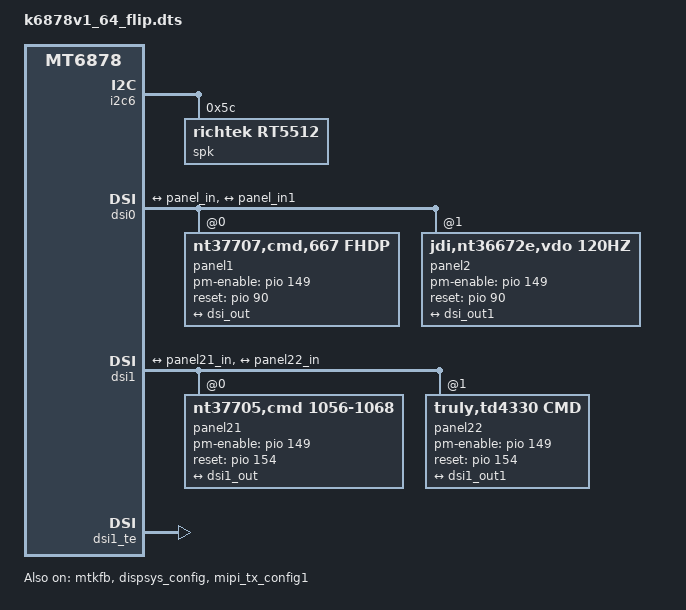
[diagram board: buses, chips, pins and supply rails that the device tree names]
// SPDX-License-Identifier: (GPL-2.0 OR MIT)
/*
 * Copyright (C) 2022 MediaTek Inc.
 */
/dts-v1/;
/plugin/;
#include <dt-bindings/interrupt-controller/arm-gic.h>
#include <dt-bindings/interrupt-controller/irq.h>
#include <dt-bindings/phy/phy.h>
#include <dt-bindings/pinctrl/mt6878-pinfunc.h>

#if 0
#include <dt-bindings/pinctrl/mt6897-pinfunc.h>
#endif

&chosen {
bootargs_ext = "";
};

&mtk_leds {
	compatible = "mediatek,disp-conn-leds";

	backlight {
		led-mode = <4>;
		max-brightness = <16380>;
		min-brightness = <4>;
		max-hw-brightness = <16380>;
	};
};

&mtk_leds1 {
	compatible = "mediatek,disp-conn-leds";

	backlight {
		led-mode = <4>;
		max-brightness = <16380>;
		min-brightness = <4>;
		max-hw-brightness = <16380>;
	};
};

&pdc {
	pd-vbus-upper-bound = <9000000>;
};

#if 0

&connfem {
/* Enable epa_elna node to support Wifi & BT ePA/eLNA FEM on customer load */
#if 0
	epa-elna {
		parts = <&wlan7207h &wlan7207c>;
		wifi {
			flags-0 {
				open-loop;
			};
		};
		bt {
			flags-0 {
				/* choose one of: epa-elna/epa/elna/bypass */
				epa-elna;
			};
		};
	};
#endif
};

/* GPS GPIO standardization start */
&pio {
	gps_pins_default: gps-default {
	};
	gps_l1_lna_pins_ol: gps-l1-lna0 {
		pins-cmd-dat {
			pinmux = <PINMUX_GPIO143__FUNC_GPIO143>;
			output-low;
		};
	};
	gps_l1_lna_pins_dsp_ctrl: gps-l1-lna1 {
		pins-cmd-dat {
			pinmux = <PINMUX_GPIO143__FUNC_GPS_L1_ELNA_EN>;
		};
	};
	gps_l1_lna_pins_oh: gps-l1-lna2 {
		pins-cmd-dat {
			pinmux = <PINMUX_GPIO143__FUNC_GPIO143>;
			output-high;
		};
	};
	gps_l5_lna_pins_ol: gps-l5-lna0 {
		pins-cmd-dat {
			pinmux = <PINMUX_GPIO144__FUNC_GPIO144>;
			output-low;
		};
	};
	gps_l5_lna_pins_dsp_ctrl: gps-l5-lna1 {
		pins-cmd-dat {
			pinmux = <PINMUX_GPIO144__FUNC_GPS_L5_ELNA_EN>;
		};
	};
	gps_l5_lna_pins_oh: gps-l5-lna2 {
		pins-cmd-dat {
			pinmux = <PINMUX_GPIO144__FUNC_GPIO144>;
			output-high;
		};
	};
};
&gps {
	pinctrl-names = "default",
		"gps_l1_lna_disable",
		"gps_l1_lna_dsp_ctrl",
		"gps_l1_lna_enable",
		"gps_l5_lna_disable",
		"gps_l5_lna_dsp_ctrl",
		"gps_l5_lna_enable";
	pinctrl-0 = <&gps_pins_default>;
	pinctrl-1 = <&gps_l1_lna_pins_ol>;
	pinctrl-2 = <&gps_l1_lna_pins_dsp_ctrl>;
	pinctrl-3 = <&gps_l1_lna_pins_oh>;
	pinctrl-4 = <&gps_l5_lna_pins_ol>;
	pinctrl-5 = <&gps_l5_lna_pins_dsp_ctrl>;
	pinctrl-6 = <&gps_l5_lna_pins_oh>;
	status = "okay";
};
/* GPS GPIO standardization end */

#endif

&i2c6 {
	spk: speaker-amp@5c {
		compatible = "richtek,rt5512";
		#address-cells = <1>;
		#size-cells = <0>;
		#sound-dai-cells = <0>;
		reg = <0x5c>;
		status = "okay";
		sound-name-prefix = "Left";
	};
};

&sound {
	mediatek,spk-i2s = <25 24>;
	mediatek,speaker-codec {
		sound-dai = <&spk>;
	};
};



&mtkfb {
	pinctrl-names = "lcd_bias_enp1_gpio", "lcd_bias_enp0_gpio",
		"lcd_bias_enn1_gpio", "lcd_bias_enn0_gpio",
		"lcm_rst_out1_gpio", "lcm_rst_out0_gpio",
		"mode_te_te", "lcm_led_en1_gpio", "lcm_led_en0_gpio",
		"lcm1-rst-out1-gpio", "lcm1-rst-out0-gpio";
	pinctrl-0 = <&mtkfb_pins_lcd_bias_enp1>;
	pinctrl-1 = <&mtkfb_pins_lcd_bias_enp0>;
	pinctrl-2 = <&mtkfb_pins_lcd_bias_enn1>;
	pinctrl-3 = <&mtkfb_pins_lcd_bias_enn0>;
	pinctrl-4 = <&mtkfb_pins_lcm_rst_out1_gpio>;
	pinctrl-5 = <&mtkfb_pins_lcm_rst_out0_gpio>;
	pinctrl-6 = <&mtkfb_pins_lcm_dsi_te>;
	pinctrl-7 = <&mtkfb_pins_lcm_led_en1>;
	pinctrl-8 = <&mtkfb_pins_lcm_led_en0>;
	pinctrl-9 = <&mtkfb_pins_lcm1_rst_out1_gpio>;
	pinctrl-10 = <&mtkfb_pins_lcm1_rst_out0_gpio>;

	status = "okay";
};

&pio {
	mtkfb_pins_lcd_bias_enp1: lcd-bias-enp1-gpio {
		pins-cmd-dat {
			pinmux = <PINMUX_GPIO149__FUNC_GPIO149>;
			slew-rate = <1>;
			output-high;
		};
	};

	mtkfb_pins_lcd_bias_enp0: lcd-bias-enp0-gpio {
		pins-cmd-dat {
			pinmux = <PINMUX_GPIO149__FUNC_GPIO149>;
			slew-rate = <1>;
			output-low;
		};
	};

	mtkfb_pins_lcd_bias_enn1: lcd-bias-enn1-gpio {
		pins-cmd-dat {
			pinmux = <PINMUX_GPIO149__FUNC_GPIO149>;
			slew-rate = <1>;
			output-high;
		};
	};

	mtkfb_pins_lcd_bias_enn0: lcd-bias-enn0-gpio {
		pins-cmd-dat {
			pinmux = <PINMUX_GPIO149__FUNC_GPIO149>;
			slew-rate = <1>;
			output-low;
		};
	};

	mtkfb_pins_lcm_rst_out1_gpio: lcm-rst-out1-gpio {
		pins-cmd-dat {
			pinmux = <PINMUX_GPIO90__FUNC_GPIO90>;
			slew-rate = <1>;
			output-high;
		};
	};

	mtkfb_pins_lcm_rst_out0_gpio: lcm-rst-out0-gpio {
		pins-cmd-dat {
			pinmux = <PINMUX_GPIO90__FUNC_GPIO90>;
			slew-rate = <1>;
			output-low;
		};
	};

	mtkfb_pins_lcm_dsi_te: lcm-dsi-te {
		pins-cmd-dat {
			pinmux = <PINMUX_GPIO89__FUNC_DSI_TE>;
		};
	};

	mtkfb_pins_lcm_led_en1: lcm-led-en1-gpio {
		pins-cmd-dat {
			pinmux = <PINMUX_GPIO149__FUNC_GPIO149>;
			slew-rate = <1>;
			output-high;
		};
	};

	mtkfb_pins_lcm_led_en0: lcm-led-en0-gpio {
		pins-cmd-dat {
			pinmux = <PINMUX_GPIO149__FUNC_GPIO149>;
			slew-rate = <1>;
			output-low;
		};
	};

	mtkfb_pins_lcm_dsi1_te: lcm-dsi1-te {
		pins-cmd-dat {
			pinmux = <PINMUX_GPIO155__FUNC_DSI_TE1>;
		};
	};

	mtkfb_pins_lcm_dsi_gpio: lcm-dsi-gpio {
		pins-cmd-dat {
			pinmux = <PINMUX_GPIO89__FUNC_GPIO89>;
		};
	};

	mtkfb_pins_lcm_dsi1_gpio: lcm-dsi1-gpio {
		pins-cmd-dat {
			pinmux = <PINMUX_GPIO155__FUNC_GPIO155>;
		};
	};

	mtkfb_pins_lcm1_rst_out1_gpio: lcm1-rst-out1-gpio {
		pins-cmd-dat {
			pinmux = <PINMUX_GPIO154__FUNC_GPIO154>;
			slew-rate = <1>;
			output-high;
		};
	};

	mtkfb_pins_lcm1_rst_out0_gpio: lcm1-rst-out0-gpio {
		pins-cmd-dat {
			pinmux = <PINMUX_GPIO154__FUNC_GPIO154>;
			slew-rate = <1>;
			output-low;
		};
	};
};

&dispsys_config {
	pinctrl-names = "mode_te_te", "mode_te_te1",
		"mode_te_gpio", "mode_te_gpio1";
	pinctrl-0 = <&mtkfb_pins_lcm_dsi_te>;
	pinctrl-1 = <&mtkfb_pins_lcm_dsi1_te>;
	pinctrl-2 = <&mtkfb_pins_lcm_dsi_gpio>;
	pinctrl-3 = <&mtkfb_pins_lcm_dsi1_gpio>;

	enable-secondary-path;

	status = "okay";
};

&dsi0 {
	status = "okay";
	#address-cells = <1>;
	#size-cells = <0>;
	switch-fps = <120>;
	possible-crtcs = <1>;
	panel1@0 {
		compatible = "nt37707,cmd,667,fhdp";
		reg = <0>;
		pm-enable-gpios = <&pio 149 0>;
		reset-gpios = <&pio 90 0>;
		gate-ic = <4831>;
		swap-from-dts;
		lane-swap-setting = <1 2 0 3 4 2>;
		pn-swap-setting = <1 1 1 1 1 1>;
		pinctrl-names = "default";
		port {
			panel_in: endpoint {
				remote-endpoint = <&dsi_out>;
			};
		};
	};
	panel2@1 {
		compatible = "jdi,nt36672e,vdo,120hz";
		reg = <1>;
		pm-enable-gpios = <&pio 149 0>;
		reset-gpios = <&pio 90 0>;
		gate-ic = <4831>;
		pinctrl-names = "default";
		port {
			panel_in1: endpoint {
				remote-endpoint = <&dsi_out1>;
			};
		};
	};
	ports {
		port {
			dsi_out: endpoint {
				remote-endpoint = <&panel_in>;
			};

			dsi_out1: endpoint@1 {
				remote-endpoint = <&panel_in1>;
			};
		};

	};
};

&mipi_tx_config1 {
	status = "okay";
};

&dsi1 {
	status = "okay";
	#address-cells = <1>;
	#size-cells = <0>;
	possible-crtcs = <8>;
	//init-panel-off;
	panel21@0 {
		compatible = "nt37705,cmd,1056-1068";
		reg = <0>;
		pm-enable-gpios = <&pio 149 0>;
		reset-gpios = <&pio 154 0>;
		gate-ic = <4831>;
		swap-from-dts;
		lane-swap-setting = <1 2 0 3 4 2>;
		pn-swap-setting = <1 1 1 1 1 1>;
		pinctrl-names = "default";
		port {
			panel21_in: endpoint {
				remote-endpoint = <&dsi1_out>;
			};
		};
	};
	panel22@1 {
		compatible = "truly,td4330,cmd";
		reg = <1>;
		pm-enable-gpios = <&pio 149 0>;
		reset-gpios = <&pio 154 0>;
		gate-ic = <4831>;
		swap-from-dts;
		lane-swap-setting = <1 2 0 3 4 2>;
		pn-swap-setting = <1 1 1 1 1 1>;
		pinctrl-names = "default";
		port {
			panel22_in: endpoint {
				remote-endpoint = <&dsi1_out1>;
			};
		};
	};
	ports {
		port {
			dsi1_out: endpoint {
				remote-endpoint = <&panel21_in>;
			};

			dsi1_out1: endpoint@1 {
				remote-endpoint = <&panel22_in>;
			};
		};
	};
};

&dsi1_te {
	interrupt-parent = <&pio>;
	interrupts = <155 1 155 1>;
	status = "okay";
};

#include <k6878v1_64_flip/cust.dtsi>
#include "mediatek/cust_mt6878_touch_flip.dtsi"
#include "mediatek/cust_mt6878_camera_v4l2.dtsi"
#include "mediatek/cust_k6878_connfem.dtsi"
/*End of this file, DO NOT ADD ANYTHING HERE*/
